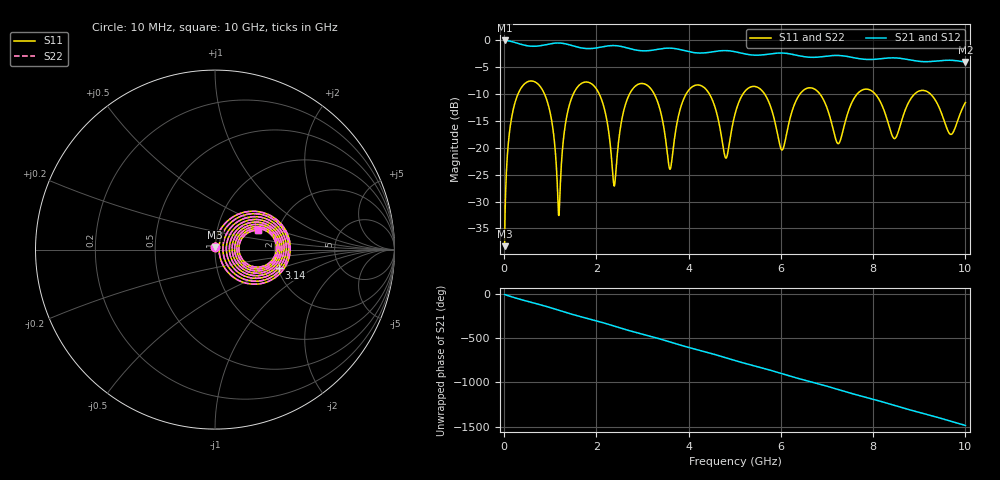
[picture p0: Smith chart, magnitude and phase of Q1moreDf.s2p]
! Touchstone generated by fitter/viewer
# HZ S  RI R 5.000000e+001
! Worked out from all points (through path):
!   1000 points, 10 MHz to 10 GHz, reference 50 ohm
!   highest |S21| = 0.00 dB at 10 MHz (marker M1); lowest = -4.0 dB at 10 GHz (marker M2)
!   group delay of S21, straight-line fit = 412 ps
!   lowest |S11| = -38.3 dB at 10 MHz (marker M3), VSWR 1.02, Z = 50 + j1.21 ohm
!   |S11| at or under -10 dB: 5.649 GHz to 6.412 GHz (762.2 MHz wide, 12.6 % of centre); 6.848 GHz to 7.652 GHz (803.5 MHz wide, 11.1 % of centre); 8.047 GHz to 8.896 GHz (849.2 MHz wide, 10 % of centre)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
!   |S22| runs from -38.3 to -7.5 dB; largest |S21 - S12| = 0
!   S11 on the Smith chart (normalised r, x): 10 MHz: 1.00, +0.02; 3.14 GHz: 2.03, -0.48; 10 GHz: 1.59, +0.37
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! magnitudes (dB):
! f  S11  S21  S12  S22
! 10 MHz  -38.3  0.0  0.0  -38.3
! 130 MHz  -16.1  -0.1  -0.1  -16.1
! 350 MHz  -9.1  -0.7  -0.7  -9.1
! 900 MHz  -10.5  -0.8  -0.8  -10.5
! 1.19 GHz  -32.6  -0.5  -0.5  -32.6
! 1.68 GHz  -8.0  -1.4  -1.4  -8.0
! 2.11 GHz  -11.0  -1.2  -1.2  -11.0
! 2.39 GHz  -27.1  -1.0  -1.0  -27.1
! 2.67 GHz  -10.9  -1.4  -1.4  -10.9
! 3.14 GHz  -8.6  -1.9  -1.9  -8.6
! 3.34 GHz  -11.7  -1.6  -1.6  -11.7
! 3.59 GHz  -24.0  -1.4  -1.4  -24.0
! 4.07 GHz  -8.7  -2.2  -2.2  -8.7
! 4.8 GHz  -21.9  -1.9  -1.9  -21.9
! 5.01 GHz  -13.6  -2.1  -2.1  -13.6
! 5.54 GHz  -9.0  -2.7  -2.7  -9.0
! 6.03 GHz  -20.4  -2.3  -2.3  -20.4
! 6.67 GHz  -8.9  -3.1  -3.1  -8.9
! 7.23 GHz  -19.2  -2.8  -2.8  -19.2
! 7.79 GHz  -9.1  -3.5  -3.5  -9.1
! 8.34 GHz  -15.8  -3.3  -3.3  -15.8
! 10 GHz  -11.6  -4.0  -4.0  -11.6
